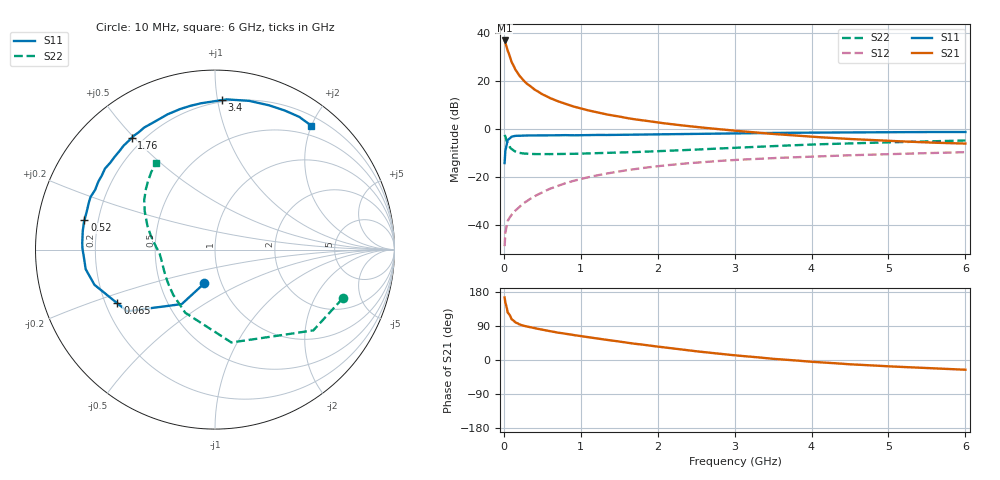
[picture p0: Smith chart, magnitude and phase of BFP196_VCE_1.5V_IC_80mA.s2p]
! Infineon Technologies  Discrete & RF Semiconductors
! BFP196
! VCE = 1.5 V,  IC =  80mA
! Common Emitter S-Parameters:  Jan 2016
# GHz  S  MA  R  50
!  f  S11  S21  S12  S22
! GHz  MAG  ANG  MAG  ANG  MAG  ANG  MAG  ANG
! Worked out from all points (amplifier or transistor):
!   210 points, 10 MHz to 6 GHz, reference 50 ohm
!   highest |S21| = 36.9 dB at 10 MHz (marker M1)
!   |S21| within 3 dB of that: start of sweep to 38.64 MHz
!   unconditionally stable (mu >= 1): 293.8 MHz to 5.455 GHz; 5.549 GHz to end of sweep
!   at 185 MHz: K = 0.87, MSG = 28.0 dB, |S12| = -32.8 dB
!   at 1.52 GHz: K = 1.10, MAG = 9.3 dB, |S12| = -17.4 dB
!   at 6 GHz: K = 1.01, MAG = 1.3 dB, |S12| = -9.5 dB
!   S11 on the Smith chart (normalised r, x): 10 MHz: 0.83, -0.33; 65 MHz: 0.25, -0.24; 520 MHz: 0.15, +0.11; 1.76 GHz: 0.16, +0.49; 3.4 GHz: 0.19, +1.03; 6 GHz: 0.34, +1.99
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0.01  0.1977 -107.6  70.06 164.9  0.0037 71.9  0.7616 -20.9
0.02  0.3556 -121.4  63.43 150.7  0.007 67.1  0.7091 -39.4
0.05  0.5974 -144.9  43.15 125.3  0.0124 52.4  0.5255 -80.0
0.065  0.6206 -151.2  37.45 121.8  0.0137 51.9  0.4679 -88.3
0.1  0.6996 -163.7  25.11 107.5  0.0166 51.1  0.3888 -115.3
0.15  0.7287 -171.4  17.33 99.3  0.0203 53.5  0.3427 -132.9
0.2  0.7309 -176.4  13.17 94.2  0.0239 57.8  0.323 -143.4
0.26  0.7388 179.2  10.19 90.2  0.0291 60.6  0.3127 -151.7
0.3  0.7406 177.1  8.821 88.1  0.032 62.2  0.3091 -155.2
0.4  0.7441 171.9  6.664 83.7  0.0404 64.8  0.3043 -161.8
0.52  0.7455 167.3  5.154 79.2  0.0503 65.7  0.3032 -166.6
0.6  0.7448 164.1  4.448 76.0  0.0578 65.9  0.3036 -168.9
0.7  0.7496 160.2  3.831 72.3  0.0659 65.8  0.3049 -171.1
1.02  0.7524 149.2  2.647 62.5  0.0936 62.6  0.3111 -176.4
1.3  0.758 140.3  2.087 54.1  0.1171 58.8  0.3202 -179.9
1.76  0.7766 126.6  1.565 41.6  0.1525 51.9  0.337 174.8
2.02  0.786 119.7  1.367 34.9  0.1714 47.7  0.3506 171.6
3.1  0.8211 93.4  0.904 10.6  0.2337 31.0  0.4167 156.7
3.4  0.8334 87.5  0.823 5.2  0.2467 26.6  0.4383 152.7
4.1  0.8508 75.5  0.683 -5.9  0.2727 17.8  0.4862 143.9
5.1  0.8679 62.2  0.565 -17.6  0.3056 6.5  0.5379 133.4
6  0.8743 52.2  0.503 -25.7  0.3333 -3.5  0.5829 124.4
